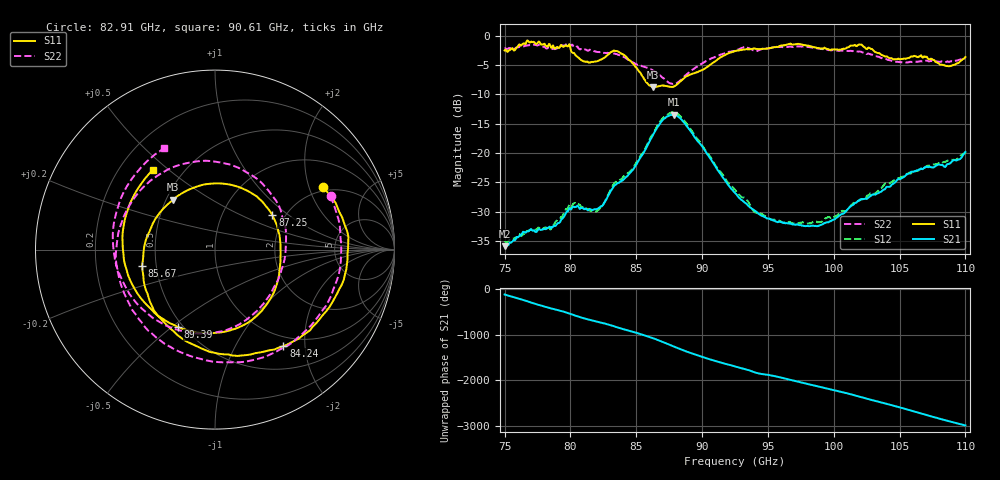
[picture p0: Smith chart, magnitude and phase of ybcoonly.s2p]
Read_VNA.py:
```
# -*- coding: utf-8 -*-


"""
# GitHub examples repository path: VectorNetworkAnalyzers/Python/RsInstrument

Created 2021/05

Author:                     Jahns_P
Version Number:             1
Date of last change:        2021/06/01
Requires:                   R&S ZNB, FW 3.12 or newer and adequate options
                            Installed VISA e.g. R&S Visa 5.12.x or newer

Description:    Example for remote calibration with robot support to feed the calibration elements.


General Information:

Please always check this example script for unsuitable setting that may
destroy your DUT before connecting it to the instrument!
This example does not claim to be complete. All information has been compiled with care.
However, errors can not be ruled out.

Please find more information about RsInstrument at
https://rsinstrument.readthedocs.io/en/latest/
"""

from RsInstrument import *
from time import sleep

import skrf as rf
import matplotlib.pyplot as plt

# Define variables
resource = 'TCPIP0::169.254.123.197::INSTR'                                                  # VISA resource string for the device
s2p_filename = r'C:\Users\Public\Documents\Rohde-Schwarz\ZNA\Traces\ybcoonly.s2p'          # Name and path of the s2p file on the instrument
pc_filename = r'D:\OneDrive\document\GitHub\VNAMeas\ybcoonly.s2p'                                                # Name and path of the s2p file on the PC


# Make sure you have the last version of the RsInstrument
RsInstrument.assert_minimum_version('1.53.0')

# Define the device handle
# Instrument = RsInstrument(resource)
Instrument = RsInstrument(resource, True, False, "SelectVisa='rs'")
"""
(resource, True, True, "SelectVisa='rs'") has the following meaning:
(VISA-resource, id_query, reset, options)
- id_query: if True: the instrument's model name is verified against the models 
supported by the driver and eventually throws an exception.   
- reset: Resets the instrument (sends *RST) command and clears its status syb-system
- option SelectVisa:
            - 'SelectVisa = 'socket' - uses no VISA implementation for socket connections - you do not need any VISA-C installation
            - 'SelectVisa = 'rs' - forces usage of Rohde&Schwarz Visa
            - 'SelectVisa = 'ni' - forces usage of National Instruments Visa     
"""
sleep(1)                                                                              # Eventually add some waiting time when reset is performed during initialization


def comprep():
    """Preparation of the communication (termination, etc...)"""
    print(f'VISA Manufacturer: {Instrument.visa_manufacturer}')     # Confirm VISA package to be chosen
    Instrument.visa_timeout = 5000                                  # Timeout for VISA Read Operations
    Instrument.opc_timeout = 5000                                   # Timeout for opc-synchronised operations
    Instrument.instrument_status_checking = True                    # Error check after each command, can be True or False
    Instrument.clear_status()                                       # Clear status register


def close():
    """Close the VISA session"""
    Instrument.close()


def comcheck():
    """Check communication with the device"""

    # Just knock on the door to see if instrument is present
    idnResponse = Instrument.query_str('*IDN?')
    sleep(1)
    print('Hello, I am ' + idnResponse)


def meassetup():
    # RF Setup first
    Instrument.write_str_with_opc('SYSTEM:DISPLAY:UPDATE ON')                                       # Be sure to have the display updated whilst remote control
    Instrument.write_str_with_opc('SENSe1:FREQuency:Start 700e6')                                   # Set start frequency to 700 MHz
    Instrument.write_str_with_opc('SENSe1:FREQuency:Stop 1.3e9')                                    # Set stop frequency to 1.3 GHz
    Instrument.write_str_with_opc('SENSe1:SWEep:POINts 501')                                        # Set number of sweep points

    # Prepare S11 measurement in diagram 1
    Instrument.write_str_with_opc('CALCulate1:PARameter:MEAsure "Trc1", "S11"')                     # Change active trace to S11 measurement
    Instrument.write_str_with_opc('CALCulate1:Format MAGNitude')                                    # Be sure to have active trace's format to dB Mag
    Instrument.write_str_with_opc('CALCulate1:PARameter:SDEFine "Trc2", "S11"')                     # Add a second trace
    Instrument.write_str_with_opc('CALCulate1:Format PHASe')                                        # Change active trace's format to phase
    Instrument.write_str_with_opc('DISPlay:WINDow1:TRACe2:FEED "Trc2"')                             # Display the second trace

    # Prepare S22 measurement in diagram 2 like for S11 if not separately commented
    Instrument.write_str_with_opc('DISPlay:WINDow2:STATe ON')                                       # Add another diagram
    Instrument.write_str_with_opc('CALCulate1:PARameter:SDEFine "Trc3", "S22"')                     # Add a third trace
    Instrument.write_str_with_opc('CALCulate1:Format MAGNitude')
    Instrument.write_str_with_opc('DISPlay:WINDow2:TRACe3:FEED "Trc3"')
    Instrument.write_str_with_opc('CALCulate1:PARameter:SDEFine "Trc4", "S22"')
    Instrument.write_str_with_opc('CALCulate1:Format PHASe')
    Instrument.write_str_with_opc('DISPlay:WINDow2:TRACe4:FEED "Trc4"')

    # Prepare S21 measurement in diagram 3 like  before if not separately commented
    Instrument.write_str_with_opc('DISPlay:WINDow3:STATe ON')
    Instrument.write_str_with_opc('CALCulate1:PARameter:SDEFine "Trc5", "S21"')
    Instrument.write_str_with_opc('CALCulate1:Format MAGNitude')
    Instrument.write_str_with_opc('DISPlay:WINDow3:TRACe3:FEED "Trc5"')
    Instrument.write_str_with_opc('CALCulate1:PARameter:SDEFine "Trc6", "S21"')
    Instrument.write_str_with_opc('CALCulate1:Format PHASe')
    Instrument.write_str_with_opc('DISPlay:WINDow3:TRACe4:FEED "Trc6"')

    # Prepare S12 measurement in diagram 4 like  before if not separately commented
    Instrument.write_str_with_opc('DISPlay:WINDow4:STATe ON')
    Instrument.write_str_with_opc('CALCulate1:PARameter:SDEFine "Trc7", "S12"')
    Instrument.write_str_with_opc('CALCulate1:Format MAGNitude')
    Instrument.write_str_with_opc('DISPlay:WINDow4:TRACe3:FEED "Trc7"')
    Instrument.write_str_with_opc('CALCulate1:PARameter:SDEFine "Trc8", "S12"')
    Instrument.write_str_with_opc('CALCulate1:Format PHASe')
    Instrument.write_str_with_opc('DISPlay:WINDow4:TRACe4:FEED "Trc8"')


def measure():
    """Perform a single sweep measurement"""
    Instrument.write_str_with_opc('INIT1:CONTinuous OFF')
    Instrument.write_str_with_opc('INIT1:IMMediate')


def saves2p():
    """Save the measurement to a s2p file"""
    Instrument.write_str_with_opc(f'MMEMory:STORe:TRACe:PORTs 1, "{s2p_filename}", COMPlex, 1, 2')
    # An S2P file does only contain real and imaginary part of each scatter parameter of the measurement.
    # To extract e.g. the magnitude and phase data of each trace, better use the command
    # MMEMory:STORe:TRACe:CHANnel 1, 'tracefile.csv', FORM, LINPhase
    # Using this simple file format it will be stored in path
    # C:\Users\Public\Documents\Rohde-Schwarz\Vna


def fileget():
    """Perform calibration with short element"""
    Instrument.read_file_from_instrument_to_pc(s2p_filename, pc_filename)


# ---------------------------
# Main Program begins here
# just calling the functions
# ---------------------------

# comprep()
# comcheck()
# meassetup()
# measure()
# saves2p()

fileget()
# close()

net = rf.Network(pc_filename)

net.plot_s_db()


# print('I am done')
```
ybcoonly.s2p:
#  HZ  S  RI  R  50.00
! Rohde & Schwarz Vector Network Analyzer
! Rohde-Schwarz,ZNA50-4Port,1332450054101417,2.92
! Created: UTC 11/6/2024, 12:37:30 PM
! freq[Hz]  re:S11  im:S11  re:S21  im:S21  re:S12  im:S12  re:S22  im:S22
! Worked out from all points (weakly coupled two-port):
!   1001 points, 75 GHz to 110 GHz, reference 50 ohm
!   highest |S21| = -13.47 dB at 87.88 GHz (marker M1); lowest = -35.9 dB at 75 GHz (marker M2)
!   lowest |S11| = -8.8 dB at 86.27 GHz (marker M3), VSWR 2.14, Z = 27.2 + j17.5 ohm
!   |S11| at or under -10 dB: nowhere
!   |S22| runs from -8.2 to -1.3 dB; largest |S21 - S12| = 0.12
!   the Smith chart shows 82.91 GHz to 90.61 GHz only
!   S11 on the Smith chart (normalised r, x): 82.91 GHz: 1.85, +2.50; 84.24 GHz: 0.84, -1.60; 85.67 GHz: 0.42, -0.09; 87.25 GHz: 1.72, +0.77; 89.39 GHz: 0.47, -0.52; 90.61 GHz: 0.34, +0.44
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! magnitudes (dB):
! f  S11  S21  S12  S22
! 75 GHz  -2.5  -35.9  -35.2  -2.2
! 82.91 GHz  -3.1  -27.1  -26.9  -3.0
! 84.24 GHz  -3.6  -24.1  -23.6  -3.9
! 85.67 GHz  -7.6  -19.5  -19.3  -5.4
! 86.27 GHz  -8.8  -16.9  -16.8  -5.9
! 87.25 GHz  -8.6  -13.9  -13.6  -7.6
! 87.88 GHz  -8.6  -13.5  -13.0  -8.2
! 89.39 GHz  -6.4  -17.1  -16.8  -5.6
! 90.61 GHz  -5.0  -20.9  -20.6  -4.0
! 92.5 GHz  -2.6  -26.8  -26.2  -2.6
! 110 GHz  -3.7  -19.8  -20.0  -3.8
